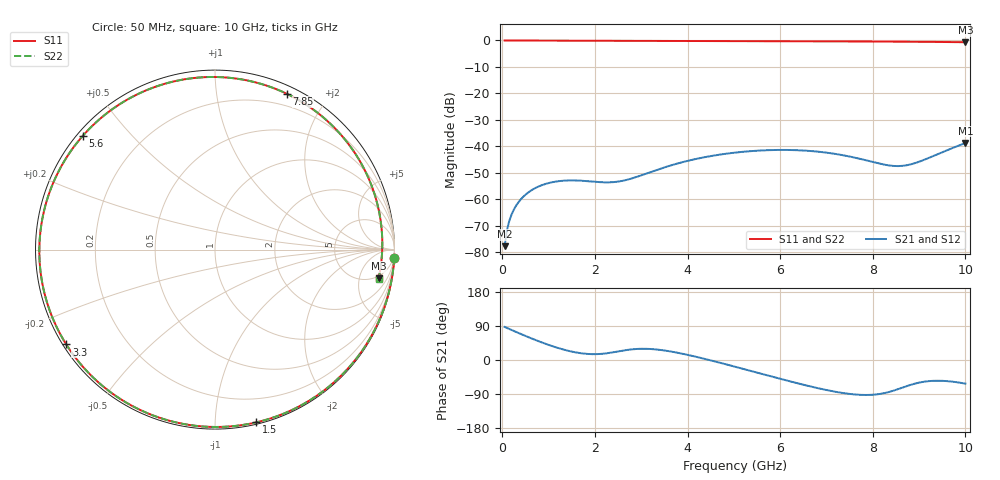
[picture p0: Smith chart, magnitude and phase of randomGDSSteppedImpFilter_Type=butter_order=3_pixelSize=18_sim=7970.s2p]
! freq	dB(S11)	phase(S11)	dB(S12)	phase(S12)
!  dB(S21)	phase(S21)	dB(S22)	phase(S22)
!S-par simulation data
#  GHz  S  DB  R 50
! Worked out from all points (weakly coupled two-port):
!   200 points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, 50 MHz to 10 GHz, reference 50 ohm
!   highest |S21| = -38.82 dB at 10 GHz (marker M1); lowest = -77.8 dB at 50 MHz (marker M2)
!   lowest |S11| = -0.7 dB at 10 GHz (marker M3), VSWR 25.83, Z = 215 - j479 ohm
!   |S11| at or under -10 dB: nowhere
!   |S22| runs from -0.7 to 0.0 dB; largest |S21 - S12| = 0
!   S11 on the Smith chart (normalised r, x): 50 MHz: 0, -42; 1.5 GHz: 0.01, -1.27; 3.3 GHz: 0.01, -0.29; 5.6 GHz: 0.02, +0.37; 7.85 GHz: 0.08, +1.56; 10 GHz: 4, -10
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0.05  -0.00 -2.7  -77.80 87.3  -77.80 87.3  -0.00 -2.7
0.1  -0.01 -5.5  -71.80 84.6  -71.80 84.6  -0.01 -5.5
0.2  -0.02 -10.9  -65.84 79.2  -65.84 79.2  -0.02 -10.9
0.3  -0.02 -16.2  -62.43 73.9  -62.43 73.9  -0.02 -16.2
0.45  -0.03 -24.2  -59.16 66.1  -59.16 66.1  -0.03 -24.2
0.9  -0.06 -47.5  -54.45 44.2  -54.45 44.2  -0.06 -47.5
1.5  -0.09 -76.5  -52.93 22.2  -52.93 22.2  -0.09 -76.5
1.75  -0.10 -87.7  -53.10 17.1  -53.10 17.1  -0.10 -87.7
2.5  -0.13 -118.5  -53.38 22.6  -53.38 22.6  -0.13 -118.5
3.3  -0.15 -147.5  -49.18 28.1  -49.18 28.1  -0.15 -147.5
3.4  -0.15 -150.9  -48.58 26.8  -48.58 26.8  -0.15 -150.9
4.2  -0.18 -177.0  -44.75 8.0  -44.75 8.0  -0.18 -177.0
5.05  -0.22 156.4  -42.37 -18.5  -42.37 -18.5  -0.22 156.4
5.6  -0.25 139.2  -41.60 -36.5  -41.60 -36.5  -0.25 139.2
6.15  -0.28 121.9  -41.41 -54.3  -41.41 -54.3  -0.28 121.9
6.7  -0.31 104.1  -41.87 -71.1  -41.87 -71.1  -0.31 104.1
7.3  -0.35 84.1  -43.22 -86.1  -43.22 -86.1  -0.35 84.1
7.85  -0.39 65.3  -45.31 -92.3  -45.31 -92.3  -0.39 65.2
8.35  -0.43 47.8  -47.27 -84.4  -47.27 -84.4  -0.43 47.7
8.75  -0.48 33.7  -47.14 -68.2  -47.14 -68.2  -0.48 33.6
9.2  -0.53 17.8  -44.49 -55.9  -44.49 -55.9  -0.53 17.7
10  -0.67 -10.0  -38.82 -62.3  -38.82 -62.3  -0.67 -10.1
